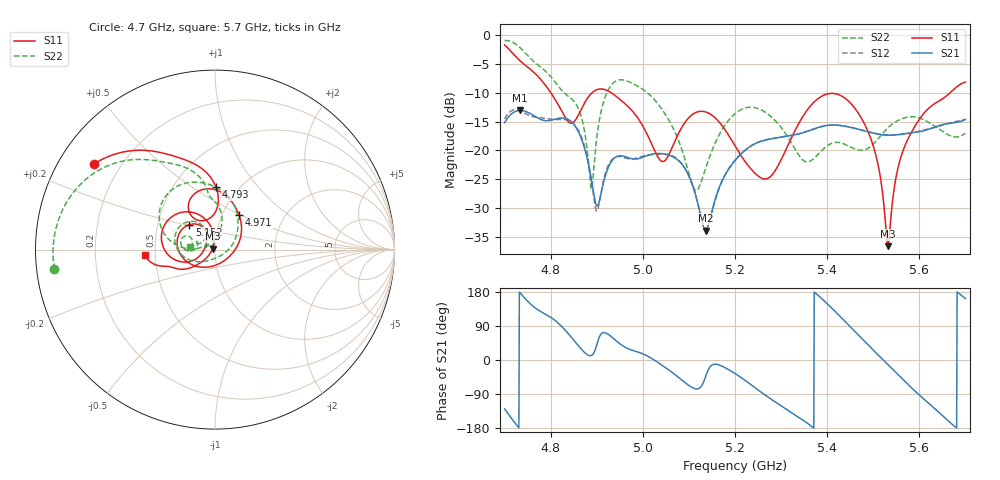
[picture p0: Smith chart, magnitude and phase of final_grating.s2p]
! TOUCHSTONE file generated by CST MICROWAVE STUDIO
! Date and time: Thu Jan  2 20:27:47 2025
! Project name: test_grating.cst
! Parameters = {airCoaxOuterDiameter=3; chamferAngle=45; chamferWidth=23; connectorLength=10; drillingHoleDiameter=4.1; feedLength=130; flareDiameter=130; flareLength=70; gratingDistance=60.81; gratingGap=5.2; outletLength=30; polarizerLength=126; probe1Diameter=1.3; probe1Distance=15.62; probe1Leng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
! Header version: 2024
! Port assignment regex: !\s*Touchstone port\s*([0-9]+)\s*=\s*(CST MWS port|CST DES external port|CST DES block port)\s*(.+)\s* \(\"(.*)\"\)(\s*mode\s*([0-9]+))?.*
! Touchstone port assignment:
! Touchstone port 1 = CST MWS port 1 ("Input1")
! Touchstone port 2 = CST MWS port 2 ("Input2")
# GHz S MA R 50
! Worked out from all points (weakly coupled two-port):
!   1001 points, 4.7 GHz to 5.7 GHz, reference 50 ohm
!   highest |S21| = -13.06 dB at 4.734 GHz (marker M1); lowest = -33.9 dB at 5.136 GHz (marker M2)
!   lowest |S11| = -36.7 dB at 5.532 GHz (marker M3), VSWR 1.03, Z = 48.6 + j0.469 ohm
!   |S11| at or under -10 dB: 4.8 GHz to 4.89 GHz (89.14 MHz wide, 1.84 % of centre); 4.932 GHz to 5.667 GHz (735 MHz wide, 13.9 % of centre)
!   |S22| runs from -27.0 to -0.9 dB; largest |S21 - S12| = 0.016
!   S11 on the Smith chart (normalised r, x): 4.7 GHz: 0.11, +0.32; 4.793 GHz: 0.79, +0.63; 4.971 GHz: 1.20, +0.49; 5.152 GHz: 0.72, +0.21; 5.7 GHz: 0.44, -0.03
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4.7  0.8254 144.6  0.174 -129.0  0.1874 -126.2  0.9018 -173.1
4.734  0.5984 117.0  0.2223 176.5  0.2201 173.4  0.7782 144.8
4.793  0.3484 89.1  0.181 117.7  0.1885 116.8  0.4694 107.8
4.867  0.2309 124.9  0.1252 27.9  0.1299 28.0  0.1924 78.7
4.889  0.3148 115.7  0.05351 12.2  0.05257 8.1  0.04648 132.3
4.901  0.3379 106.2  0.03289 44.4  0.0298 47.7  0.1384 178.4
4.92  0.3348 90.4  0.06266 71.0  0.06581 71.8  0.3038 161.4
4.971  0.2336 54.8  0.08562 28.2  0.08435 29.4  0.3931 107.1
5.034  0.08582 -31.1  0.09401 -7.5  0.09264 -7.2  0.2498 62.0
5.112  0.2106 174.6  0.04454 -75.3  0.04377 -74.6  0.04559 -49.8
5.136  0.2161 149.5  0.0201 -44.4  0.02095 -45.2  0.0694 -119.7
5.152  0.1994 135.7  0.0318 -12.1  0.03121 -12.9  0.1042 -139.6
5.2  0.1096 116.7  0.08154 -35.7  0.08218 -35.9  0.2082 -179.8
5.272  0.05733 170.6  0.1244 -98.1  0.125 -98.1  0.2059 130.0
5.367  0.2521 -170.9  0.1514 -176.0  0.1518 -176.1  0.08236 150.6
5.474  0.1916 110.2  0.1505 58.4  0.1504 58.3  0.1003 166.0
5.508  0.08321 94.9  0.139 16.4  0.1394 16.7  0.1229 -177.9
5.532  0.01469 160.9  0.1353 -12.2  0.1364 -12.4  0.1573 -178.1
5.534  0.01637 -176.0  0.1353 -14.6  0.1363 -14.8  0.16 -178.5
5.552  0.0657 -135.9  0.1369 -36.0  0.1365 -36.5  0.1804 176.4
5.578  0.1318 -140.0  0.1412 -67.4  0.1406 -66.9  0.1954 167.1
5.7  0.3923 -175.6  0.1857 162.2  0.1859 161.1  0.1408 174.3
